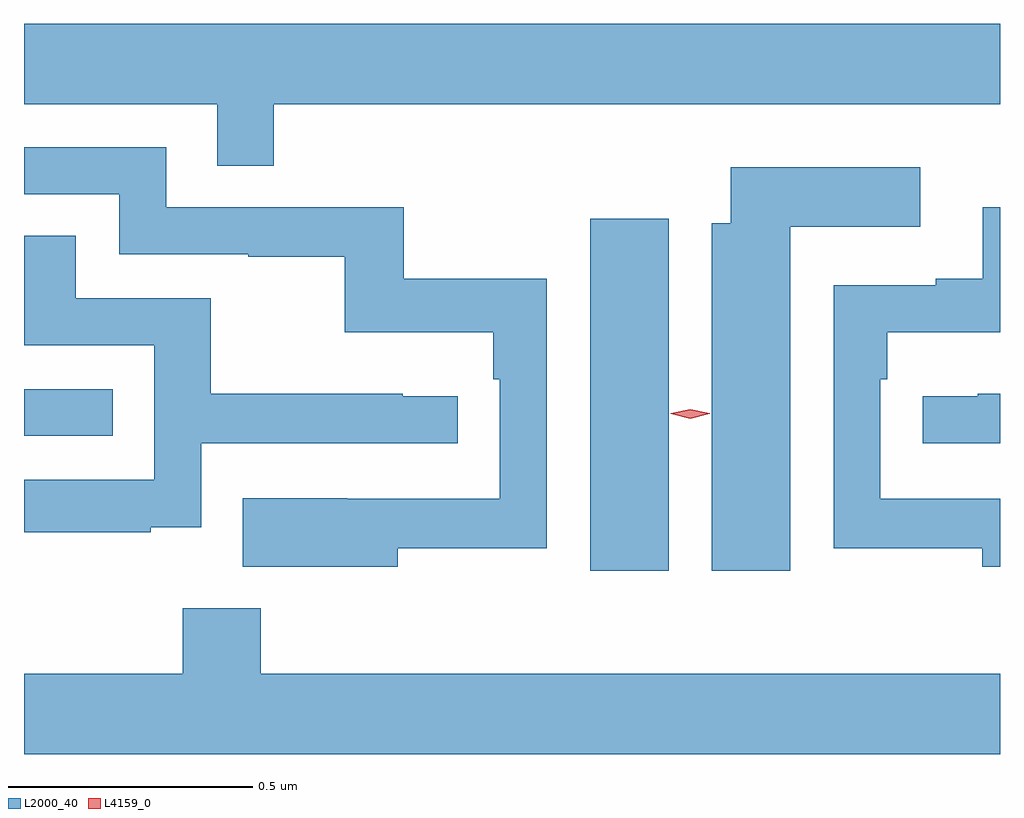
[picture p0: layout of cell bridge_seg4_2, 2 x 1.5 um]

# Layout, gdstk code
import gdstk
lib = gdstk.Library(unit=1e-6, precision=1e-09)
def R(c, l, rs):  # rectangles x0, y0, x1, y1
    for r in rs: c.add(gdstk.rectangle(r[:2], r[2:], *l))
def P(c, l, *ps):  # polygons
    for p in ps: c.add(gdstk.Polygon(p, *l))
L2000_40 = (2000, 40)
L4159_0 = (4159, 0)

bridge_seg4_2 = lib.new_cell('bridge_seg4_2')
R(bridge_seg4_2, L2000_40, [(985.619,774.552,985.78,775.273), (984.459,774.828,984.641,774.924)])
P(bridge_seg4_2, L2000_40, [(984.971,775.508),(986.459,775.508),(986.459,775.672),(984.459,775.672),(984.459,775.508),(984.855,775.508),(984.855,775.381),(984.971,775.381)],
  [(985.225,774.598),(985.53,774.598),(985.53,775.15),(985.237,775.15),(985.237,775.296),(984.75,775.296),(984.75,775.419),(984.459,775.419),(984.459,775.323),(984.654,775.323),(984.654,775.2),(984.919,775.2),(984.919,775.195),(985.116,775.195),(985.116,775.04),(985.421,775.04),(985.421,774.944),(985.434,774.944),(985.434,774.699),(985.121,774.699),(985.121,774.7),(984.907,774.7),(984.907,774.56),(985.225,774.56)],
  [(986.029,775.256),(986.296,775.256),(986.296,775.378),(985.907,775.378),(985.907,775.264),(985.868,775.264),(985.868,774.552),(986.029,774.552)],
  [(986.459,774.699),(986.214,774.699),(986.214,774.944),(986.228,774.944),(986.228,775.04),(986.459,775.04),(986.459,775.296),(986.424,775.296),(986.424,775.15),(986.327,775.15),(986.327,775.137),(986.118,775.137),(986.118,774.598),(986.423,774.598),(986.423,774.56),(986.459,774.56)],
  [(984.719,774.641),(984.822,774.641),(984.822,774.813),(985.348,774.813),(985.348,774.909),(985.235,774.909),(985.235,774.914),(984.842,774.914),(984.842,775.11),(984.565,775.11),(984.565,775.238),(984.459,775.238),(984.459,775.014),(984.726,775.014),(984.726,774.738),(984.459,774.738),(984.459,774.63),(984.719,774.63)],
  [(986.459,774.914),(986.413,774.914),(986.413,774.909),(986.301,774.909),(986.301,774.813),(986.459,774.813)],
  [(986.459,774.34),(984.944,774.34),(984.944,774.475),(984.784,774.475),(984.784,774.34),(984.459,774.34),(984.459,774.176),(986.459,774.176)])
P(bridge_seg4_2, L4159_0, [(985.824,774.863),(985.784,774.873),(985.784,774.873),(985.784,774.874),(985.824,774.883),(985.864,774.874),(985.864,774.873),(985.864,774.873)])

lib.write_gds('bridge_seg4_2.gds')
